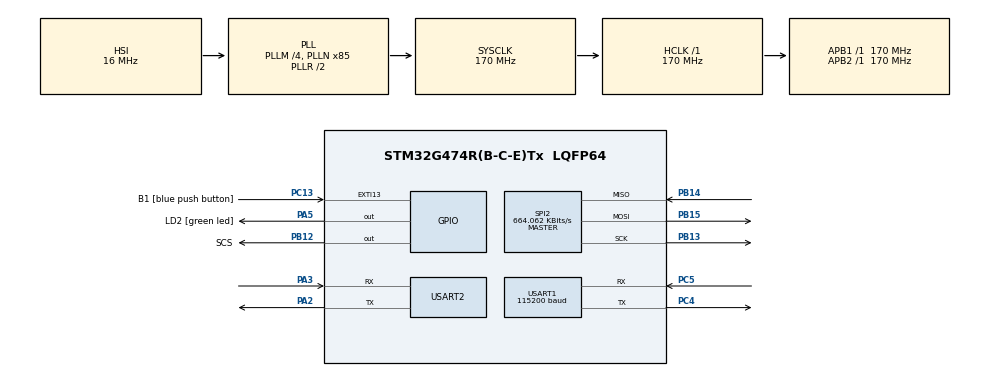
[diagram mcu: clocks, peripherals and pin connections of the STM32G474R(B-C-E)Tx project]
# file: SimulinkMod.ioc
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Dma.Request0=USART1_TX
Dma.USART1_TX.0.Direction=DMA_MEMORY_TO_PERIPH
Dma.USART1_TX.0.EventEnable=DISABLE
Dma.USART1_TX.0.Instance=DMA1_Channel1
Dma.USART1_TX.0.MemDataAlignment=DMA_MDATAALIGN_BYTE
Dma.USART1_TX.0.MemInc=DMA_MINC_ENABLE
Dma.USART1_TX.0.Mode=DMA_NORMAL
Dma.USART1_TX.0.PeriphDataAlignment=DMA_PDATAALIGN_BYTE
Dma.USART1_TX.0.PeriphInc=DMA_PINC_DISABLE
Dma.USART1_TX.0.Polarity=HAL_DMAMUX_REQ_GEN_RISING
Dma.USART1_TX.0.Priority=DMA_PRIORITY_HIGH
Dma.USART1_TX.0.RequestNumber=1
Dma.USART1_TX.0.SignalID=NONE
Dma.USART1_TX.0.SyncEnable=DISABLE
Dma.USART1_TX.0.SyncPolarity=HAL_DMAMUX_SYNC_NO_EVENT
Dma.USART1_TX.0.SyncRequestNumber=1
Dma.USART1_TX.0.SyncSignalID=NONE
FREERTOS.Queues01=ModBusQu,5,uint8_t,0,Dynamic,NULL,NULL
FREERTOS.Tasks01=defaultTask,0,128,StartDefaultTask,Default,NULL,Dynamic,NULL,NULL;ModBus,1,256,ModBusTask,Default,NULL,Dynamic,NULL,NULL
FREERTOS.Timers01=ModBusTimer,ModBusTimeOut,osTimerOnce,As weak,NULL,Dynamic,NULL
FREERTOS.configTICK_RATE_HZ=1000
FREERTOS.configTIMER_QUEUE_LENGTH=5
FREERTOS.configTIMER_TASK_PRIORITY=5
FREERTOS.configTIMER_TASK_STACK_DEPTH=128
FREERTOS.configTOTAL_HEAP_SIZE=4000
FREERTOS.configUSE_TIMERS=1
Mcu.Family=STM32G4
Mcu.Name=STM32G474R(B-C-E)Tx
Mcu.Package=LQFP64
NVIC.DMA1_Channel1_IRQn=true\:9\:0\:true\:false\:true\:true\:false\:true
NVIC.EXTI15_10_IRQn=true\:10\:0\:true\:false\:true\:true\:true\:true
NVIC.PriorityGroup=NVIC_PRIORITYGROUP_4
NVIC.SPI2_IRQn=true\:10\:0\:true\:false\:true\:true\:true\:true
NVIC.USART1_IRQn=true\:10\:0\:true\:false\:true\:true\:true\:true
NVIC.USART2_IRQn=true\:10\:0\:true\:false\:true\:true\:true\:true
PA13.GPIO_Label=T_SWDIO
PA13.Mode=Serial_Wire
PA13.Signal=SYS_JTMS-SWDIO
PA14.GPIO_Label=T_SWCLK
PA14.Mode=Serial_Wire
PA14.Signal=SYS_JTCK-SWCLK
PA2.Mode=Asynchronous
PA2.Signal=USART2_TX
PA3.Mode=Asynchronous
PA3.Signal=USART2_RX
PA5.GPIO_Label=LD2 [green led]
PA5.Signal=GPIO_Output
PB12.GPIO_Label=SCS
PB12.GPIO_Speed=GPIO_SPEED_FREQ_HIGH
PB12.Signal=GPIO_Output
PB13.Mode=Full_Duplex_Master
PB13.Signal=SPI2_SCK
PB14.Mode=Full_Duplex_Master
PB14.Signal=SPI2_MISO
PB15.Mode=Full_Duplex_Master
PB15.Signal=SPI2_MOSI
PB3.GPIO_Label=T_SWO
PB3.Signal=SYS_JTDO-SWO
PC13.GPIO_Label=B1 [blue push button]
PC13.Signal=GPXTI13
PC14-OSC32_IN.Mode=LSE-External-Oscillator
PC14-OSC32_IN.Signal=RCC_OSC32_IN
PC15-OSC32_OUT.Mode=LSE-External-Oscillator
PC15-OSC32_OUT.Signal=RCC_OSC32_OUT
PC4.Mode=Asynchronous
PC4.Signal=USART1_TX
PC5.Mode=Asynchronous
PC5.Signal=USART1_RX
PF0-OSC_IN.Mode=HSE-External-Oscillator
PF0-OSC_IN.Signal=RCC_OSC_IN
PF1-OSC_OUT.Mode=HSE-External-Oscillator
PF1-OSC_OUT.Signal=RCC_OSC_OUT
ProjectManager.HeapSize=0x10240
ProjectManager.StackSize=0x10240
ProjectManager.TargetToolchain=MDK-ARM V5.27
RCC.ADC12Freq_Value=170000000
RCC.ADC345Freq_Value=170000000
RCC.AHBFreq_Value=170000000
RCC.APB1Freq_Value=170000000
RCC.APB1TimFreq_Value=170000000
RCC.APB2Freq_Value=170000000
RCC.APB2TimFreq_Value=170000000
RCC.CortexFreq_Value=170000000
RCC.EXTERNAL_CLOCK_VALUE=12288000
RCC.HCLKFreq_Value=170000000
RCC.HSE_VALUE=24000000
RCC.HSI48_VALUE=48000000
RCC.HSI_VALUE=16000000
RCC.PLLM=RCC_PLLM_DIV4
RCC.PLLN=85
RCC.RTCClockSelection=RCC_RTCCLKSOURCE_LSE
RCC.SYSCLKFreq_VALUE=170000000
RCC.SYSCLKSource=RCC_SYSCLKSOURCE_PLLCLK
RCC.USART1CLockSelection=RCC_USART1CLKSOURCE_SYSCLK
RCC.USART2CLockSelection=RCC_USART2CLKSOURCE_SYSCLK
RCC.USBFreq_Value=170000000
RCC.VCOOutputFreq_Value=340000000
SPI2.BaudRatePrescaler=SPI_BAUDRATEPRESCALER_256
SPI2.CLKPhase=SPI_PHASE_2EDGE
SPI2.CLKPolarity=SPI_POLARITY_HIGH
SPI2.CalculateBaudRate=664.062 KBits/s
SPI2.DataSize=SPI_DATASIZE_8BIT
SPI2.Direction=SPI_DIRECTION_2LINES
SPI2.Mode=SPI_MODE_MASTER
SPI2.VirtualType=VM_MASTER
USART1.BaudRate=115200
USART1.ClockPrescaler=PRESCALER_DIV2
USART1.FIFOMode=FIFOMODE_ENABLE
USART1.OneBitSampling=UART_ONE_BIT_SAMPLE_ENABLE
USART1.OverSampling=UART_OVERSAMPLING_16
USART1.RXFIFOThreshold=RXFIFO_THRESHOLD_HALFFULL
USART1.TXFIFOThreshold=TXFIFO_THRESHOLD_HALFFULL
USART1.VirtualMode-Asynchronous=VM_ASYNC
USART2.VirtualMode-Asynchronous=VM_ASYNC
VP_FREERTOS_VS_CMSIS_V1.Mode=CMSIS_V1
VP_SYS_VS_DBSignals.Mode=DisableDeadBatterySignals
board=NUCLEO-G474RE

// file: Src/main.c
/* USER CODE BEGIN Header */
/**
  ******************************************************************************
  * @file           : main.c
  * @brief          : Main program body
  ******************************************************************************
  * @attention
  *
  * <h2><center>&copy; Copyright (c) 2020 STMicroelectronics.
  * All rights reserved.</center></h2>
  *
  * This software component is licensed by ST under BSD 3-Clause license,
  * the "License"; You may not use this file except in compliance with the
  * License. You may obtain a copy of the License at:
  *                        opensource.org/licenses/BSD-3-Clause
  *
  ******************************************************************************
  */
/* USER CODE END Header */

#include "main.h"
#include "cmsis_os.h"
#include "dma.h"
#include "spi.h"
#include "usart.h"
#include "gpio.h"

/* USER CODE BEGIN Includes */

#include "W25Qx.h"
/* USER CODE END Includes */

/* USER CODE BEGIN PV */
uint8_t wData[0x100];
uint8_t rData[0x100];
uint8_t ID[4];
/* USER CODE END PV */

void SystemClock_Config(void);
void MX_FREERTOS_Init(void);

int main(void)
{
  /* USER CODE BEGIN 1 */
  uint16_t i;
  /* USER CODE END 1 */

  /* MCU Configuration--------------------------------------------------------*/

  /* Reset of all peripherals, Initializes the Flash interface and the Systick. */
  HAL_Init();

  /* Configure the system clock */
  SystemClock_Config();

  /* Initialize all configured peripherals */
  MX_GPIO_Init();
  MX_DMA_Init();
  MX_USART2_UART_Init();
  MX_SPI2_Init();
  MX_USART1_UART_Init();
  /* USER CODE BEGIN 2 */
	uint8_t TestData[10]={1,2,3,4,5,6,7,8,9,0};
	HAL_UART_Transmit(&huart1, TestData, 10,2);
 /* if (BSP_W25Qx_Init() == W25Qx_OK)
  {
    BSP_W25Qx_Read_ID(ID);
  }
  if (BSP_W25Qx_Erase_Block(0) == W25Qx_OK)
  {
    for (i = 0; i < 0x100; i++)
    {
      wData[i] = i;
      rData[i] = 0;
    }

    if (BSP_W25Qx_Write(wData, 0x00, 0x100) == W25Qx_OK)
    {
			BSP_W25Qx_Read(rData,0x00,0x100);
    }
  }*/
  /* USER CODE END 2 */

  /* Call init function for freertos objects (in freertos.c) */
  MX_FREERTOS_Init();
  /* Start scheduler */
  osKernelStart();

  /* We should never get here as control is now taken by the scheduler */
  /* Infinite loop */
  while (1)
  {

  }
}

void SystemClock_Config(void)
{
  RCC_OscInitTypeDef RCC_OscInitStruct = {0};
  RCC_ClkInitTypeDef RCC_ClkInitStruct = {0};
  RCC_PeriphCLKInitTypeDef PeriphClkInit = {0};

  /** Configure the main internal regulator output voltage
  */
  HAL_PWREx_ControlVoltageScaling(PWR_REGULATOR_VOLTAGE_SCALE1_BOOST);
  /** Initializes the CPU, AHB and APB busses clocks
  */
  RCC_OscInitStruct.OscillatorType = RCC_OSCILLATORTYPE_HSI;
  RCC_OscInitStruct.HSIState = RCC_HSI_ON;
  RCC_OscInitStruct.HSICalibrationValue = RCC_HSICALIBRATION_DEFAULT;
  RCC_OscInitStruct.PLL.PLLState = RCC_PLL_ON;
  RCC_OscInitStruct.PLL.PLLSource = RCC_PLLSOURCE_HSI;
  RCC_OscInitStruct.PLL.PLLM = RCC_PLLM_DIV4;
  RCC_OscInitStruct.PLL.PLLN = 85;
  RCC_OscInitStruct.PLL.PLLP = RCC_PLLP_DIV2;
  RCC_OscInitStruct.PLL.PLLQ = RCC_PLLQ_DIV2;
  RCC_OscInitStruct.PLL.PLLR = RCC_PLLR_DIV2;
  if (HAL_RCC_OscConfig(&RCC_OscInitStruct) != HAL_OK)
  {
    Error_Handler();
  }
  /** Initializes the CPU, AHB and APB busses clocks
  */
  RCC_ClkInitStruct.ClockType = RCC_CLOCKTYPE_HCLK|RCC_CLOCKTYPE_SYSCLK
                              |RCC_CLOCKTYPE_PCLK1|RCC_CLOCKTYPE_PCLK2;
  RCC_ClkInitStruct.SYSCLKSource = RCC_SYSCLKSOURCE_PLLCLK;
  RCC_ClkInitStruct.AHBCLKDivider = RCC_SYSCLK_DIV1;
  RCC_ClkInitStruct.APB1CLKDivider = RCC_HCLK_DIV1;
  RCC_ClkInitStruct.APB2CLKDivider = RCC_HCLK_DIV1;

  if (HAL_RCC_ClockConfig(&RCC_ClkInitStruct, FLASH_LATENCY_8) != HAL_OK)
  {
    Error_Handler();
  }
  /** Initializes the peripherals clocks
  */
  PeriphClkInit.PeriphClockSelection = RCC_PERIPHCLK_USART1|RCC_PERIPHCLK_USART2;
  PeriphClkInit.Usart1ClockSelection = RCC_USART1CLKSOURCE_SYSCLK;
  PeriphClkInit.Usart2ClockSelection = RCC_USART2CLKSOURCE_SYSCLK;
  if (HAL_RCCEx_PeriphCLKConfig(&PeriphClkInit) != HAL_OK)
  {
    Error_Handler();
  }
}

void Error_Handler(void)
{
}

/************************ (C) COPYRIGHT STMicroelectronics *****END OF FILE****/

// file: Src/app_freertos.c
/* USER CODE BEGIN Header */
/**
  ******************************************************************************
  * File Name          : app_freertos.c
  * Description        : Code for freertos applications
  ******************************************************************************
  * @attention
  *
  * <h2><center>&copy; Copyright (c) 2020 STMicroelectronics.
  * All rights reserved.</center></h2>
  *
  * This software component is licensed by ST under Ultimate Liberty license
  * SLA0044, the "License"; You may not use this file except in compliance with
  * the License. You may obtain a copy of the License at:
  *                             www.st.com/SLA0044
  *
  ******************************************************************************
  */
/* USER CODE END Header */

#include "FreeRTOS.h"
#include "task.h"
#include "main.h"
#include "cmsis_os.h"

osThreadId defaultTaskHandle;
osThreadId ModBusHandle;
osMessageQId ModBusQuHandle;
osTimerId ModBusTimerHandle;

void StartDefaultTask(void const * argument);
void ModBusTask(void const * argument);
void ModBusTimeOut(void const * argument);

void MX_FREERTOS_Init(void); /* (MISRA C 2004 rule 8.1) */

void MX_FREERTOS_Init(void) {

  /* Create the timer(s) */
  /* definition and creation of ModBusTimer */
  osTimerDef(ModBusTimer, ModBusTimeOut);
  ModBusTimerHandle = osTimerCreate(osTimer(ModBusTimer), osTimerOnce, NULL);

  /* Create the queue(s) */
  /* definition and creation of ModBusQu */
  osMessageQDef(ModBusQu, 5, uint8_t);
  ModBusQuHandle = osMessageCreate(osMessageQ(ModBusQu), NULL);

  /* Create the thread(s) */
  /* definition and creation of defaultTask */
  osThreadDef(defaultTask, StartDefaultTask, osPriorityNormal, 0, 128);
  defaultTaskHandle = osThreadCreate(osThread(defaultTask), NULL);

  /* definition and creation of ModBus */
  osThreadDef(ModBus, ModBusTask, osPriorityAboveNormal, 0, 256);
  ModBusHandle = osThreadCreate(osThread(ModBus), NULL);

}

void StartDefaultTask(void const * argument)
{
  /* USER CODE BEGIN StartDefaultTask */
  /* Infinite loop */
  for (;;)
  {
    osDelay(100);
  }
  /* USER CODE END StartDefaultTask */
}

/* USER CODE BEGIN Header_ModBusTask */
/**
* @brief Function implementing the ModBus thread.
* @param argument: Not used
* @retval None
*/
#include "mb.h"
#define SlaveAddr 0x05
#define UsePort 1
#define BaudRate 115200
/* USER CODE END Header_ModBusTask */
void ModBusTask(void const * argument)
{
  /* USER CODE BEGIN ModBusTask */
  /* Infinite loop */
  eMBErrorCode ErrCode;
  ErrCode = eMBInit(MB_RTU, SlaveAddr, UsePort, BaudRate, MB_PAR_NONE);
  eMBEnable();
  for (;;)
  {
    eMBPoll();
    osDelay(5);
  }
  /* USER CODE END ModBusTask */
}

/* ModBusTimeOut function */
__weak void ModBusTimeOut(void const * argument)
{
}

/************************ (C) COPYRIGHT STMicroelectronics *****END OF FILE****/
